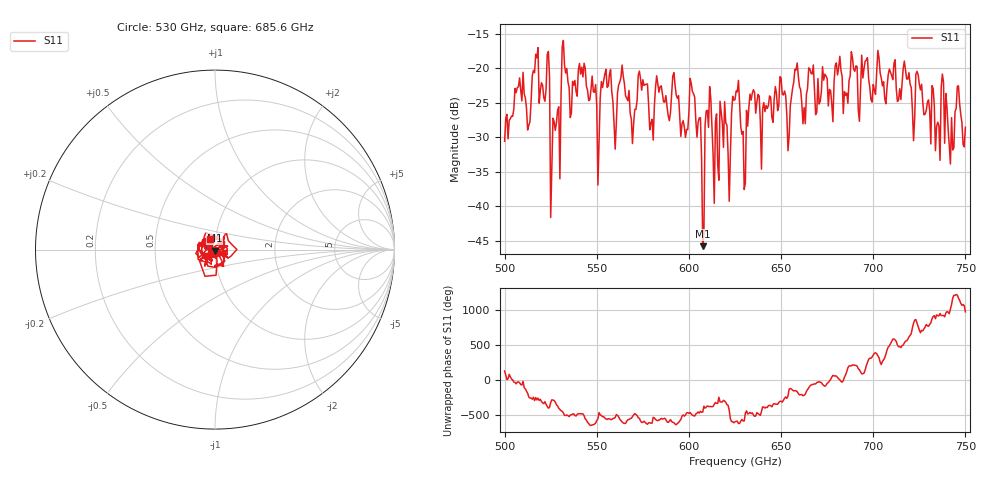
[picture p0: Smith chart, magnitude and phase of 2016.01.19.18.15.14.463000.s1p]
!Created with skrf (http://scikit-rf.org).
# GHz S RI R 50.0
!freq ReS11 ImS11
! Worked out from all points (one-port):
!   401 points, 500 GHz to 750 GHz, reference 50 ohm
!   lowest |S11| = -45.8 dB at 607.5 GHz (marker M1), VSWR 1.01, Z = 49.9 - j0.506 ohm
!   |S11| at or under -10 dB: start of sweep to end of sweep
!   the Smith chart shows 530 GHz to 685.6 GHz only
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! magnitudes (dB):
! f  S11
! 500 GHz  -30.6
! 506.9 GHz  -22.8
! 513.1 GHz  -28.3
! 516.9 GHz  -18.0
! 523.1 GHz  -18.0
! 526.2 GHz  -27.3
! 531.2 GHz  -16.9
! 542.5 GHz  -21.3
! 550.6 GHz  -36.9
! 562.5 GHz  -22.0
! 569.4 GHz  -30.9
! 573.8 GHz  -21.5
! 579.4 GHz  -27.9
! 593.8 GHz  -24.4
! 598.1 GHz  -30.0
! 601.9 GHz  -23.4
! 607.5 GHz  -45.8
! 610.6 GHz  -28.6
! 615 GHz  -26.6
! 618.1 GHz  -27.9
! 621.9 GHz  -39.3
! 625 GHz  -24.6
! 629.4 GHz  -29.2
! 634.4 GHz  -23.6
! 656.2 GHz  -22.9
! 687.5 GHz  -21.1
! 718.8 GHz  -21.6
! 750 GHz  -28.6
